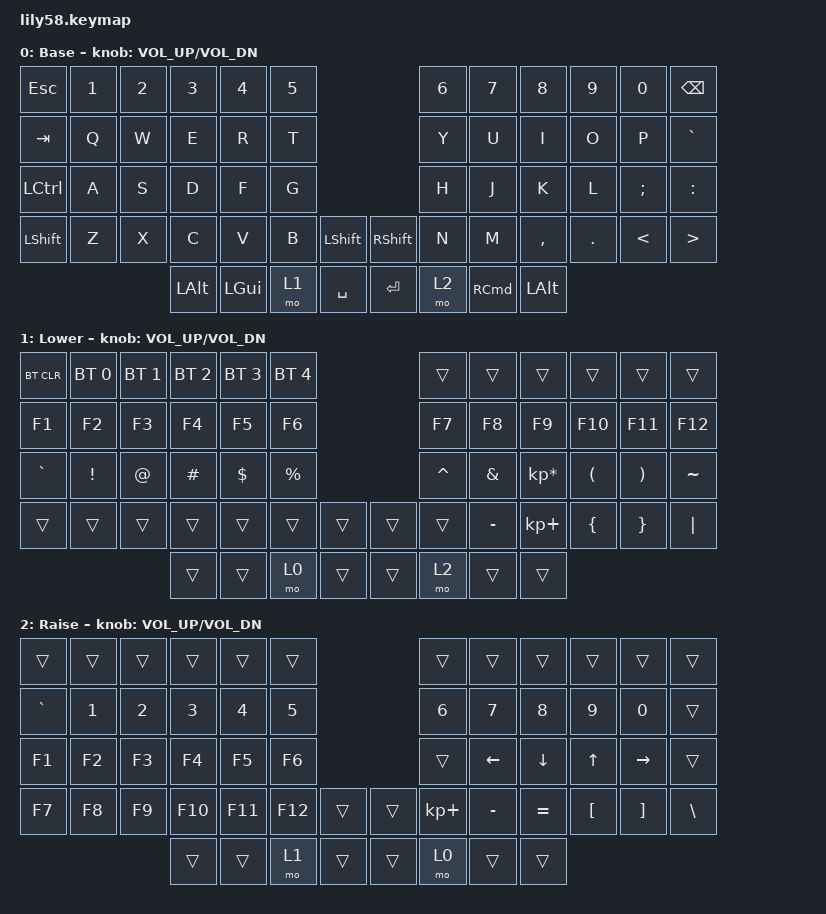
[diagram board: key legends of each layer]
/*
 * Copyright (c) 2020 The ZMK Contributors
 *
 * SPDX-License-Identifier: MIT
 */

#include <behaviors.dtsi>
#include <dt-bindings/zmk/bt.h>
#include <dt-bindings/zmk/keys.h>

/ {
    combos {
        compatible = "zmk,combos";

        Parentenciehs {
            bindings = <&kp RIGHT_PARENTHESIS>;
            key-positions = <42 9>;
            layers = <0>;
        };

        LEFT_PARENTENCIES {
            bindings = <&kp LEFT_PARENTHESIS>;
            key-positions = <42 8>;
            layers = <0>;
        };

        SHIFT_R_PARENTENCIES {
            bindings = <&kp RIGHT_PARENTHESIS>;
            key-positions = <9 43>;
            layers = <0>;
        };

        SHIFT_R_LEFT_PARENTENCIES {
            bindings = <&kp LEFT_PARENTHESIS>;
            key-positions = <8 43>;
            layers = <0>;
        };

        at {
            bindings = <&kp AT>;
            key-positions = <50 29>;
            layers = <0>;
        };

        at2 {
            bindings = <&kp AT>;
            key-positions = <29 57>;
            layers = <0>;
        };

        left-brackets2 {
            bindings = <&kp LEFT_BRACE>;
            key-positions = <8 57>;
            layers = <0>;
        };

        left_brackets {
            bindings = <&kp LEFT_BRACE>;
            key-positions = <8 50>;
            layers = <0>;
        };

        right-brackets {
            bindings = <&kp RIGHT_BRACE>;
            key-positions = <9 57>;
            layers = <0>;
        };

        right {
            bindings = <&kp RIGHT_BRACE>;
            key-positions = <9 50>;
            layers = <0>;
        };

        fs {
            bindings = <&kp FSLH>;
            key-positions = <43 7>;
            layers = <0>;
        };

        fs2 {
            bindings = <&kp FSLH>;
            key-positions = <7 42>;
            layers = <0>;
        };

        pipe {
            bindings = <&kp PIPE>;
            key-positions = <7 50>;
            layers = <0>;
        };

        pipe2 {
            bindings = <&kp PIPE>;
            key-positions = <7 57>;
            layers = <0>;
        };

        und {
            bindings = <&kp AMPS>;
            key-positions = <6 42>;
            layers = <0>;
        };

        und2 {
            bindings = <&kp AMPS>;
            key-positions = <6 43>;
            layers = <0>;
        };

        percent {
            bindings = <&kp PRCNT>;
            key-positions = <43 5>;
            layers = <0>;
        };

        perc {
            bindings = <&kp PRCNT>;
            key-positions = <5 42>;
            layers = <0>;
        };

        mal {
            bindings = <&kp ASTRK>;
            key-positions = <42 4>;
            layers = <0>;
        };

        mal2 {
            bindings = <&kp ASTRK>;
            key-positions = <4 43>;
            layers = <0>;
        };

        dq {
            bindings = <&kp DQT>;
            key-positions = <43 3>;
            layers = <0>;
        };

        dq2 {
            bindings = <&kp DQT>;
            key-positions = <3 42>;
            layers = <0>;
        };

        plus {
            bindings = <&kp PLUS>;
            key-positions = <42 2>;
            layers = <0>;
        };

        plus2 {
            bindings = <&kp PLUS>;
            key-positions = <2 43>;
            layers = <0>;
        };
    };

    keymap {
        compatible = "zmk,keymap";

        default_layer {
            // ------------------------------------------------------------------------------------------------------------
            // |  ESC  |  1  |  2  |  3   |  4   |  5   |                   |  6   |  7    |  8    |  9   |   0   |   `   |
            // |  TAB  |  Q  |  W  |  E   |  R   |  T   |                   |  Z   |  U    |  I    |  O   |   P   |   -   |
            // |  CTRL |  A  |  S  |  D   |  F   |  G   |                   |  H   |  J    |  K    |  L   |   ;   |   '   |
            // | SHIFT |  Y  |  X  |  C   |  V   |  B   |   "["  |  |  "]"  |  N   |  M    |  ,    |  .   |   /   | SHIFT |
            //                     | ALT  | GUI  | LOWER|  SPACE |  | ENTER | RAISE| BSPC  | GUI   |

            display-name = "Base";
            bindings = <
&kp ESC    &kp N1  &kp N2  &kp N3    &kp N4    &kp N5                                     &kp N6  &kp N7             &kp N8        &kp N9   &kp N0    &kp BACKSPACE
&kp TAB    &kp Q   &kp W   &kp E     &kp R     &kp T                                      &kp Y   &kp U              &kp I         &kp O    &kp P     &kp GRAVE
&kp LCTRL  &kp A   &kp S   &kp D     &kp F     &kp G                                      &kp H   &kp J              &kp K         &kp L    &kp SEMI  &kp COLON
&kp LSHFT  &kp Z   &kp X   &kp C     &kp V     &kp B   &kp LEFT_SHIFT    &kp RIGHT_SHIFT  &kp N   &kp M              &kp COMMA     &kp DOT  &kp LT    &kp GT
                           &kp LALT  &kp LGUI  &mo 1   &kp SPACE         &kp RET          &mo 2   &kp RIGHT_COMMAND  &kp LEFT_ALT
            >;

            sensor-bindings = <&inc_dec_kp C_VOL_UP C_VOL_DN>;
        };

        lower_layer {
            // ------------------------------------------------------------------------------------------------------------
            // | BTCLR | BT1 | BT2 |  BT3 |  BT4 |  BT5 |                   |      |       |       |      |       |       |
            // |  F1   |  F2 |  F3 |  F4  |  F5  |  F6  |                   |  F7  |  F8   |  F9   |  F10 |  F11  |  F12  |
            // |   `   |  !  |  @  |  #   |  $   |  %   |                   |  ^   |  &    |  *    |  (   |   )   |   ~   |
            // |       |     |     |      |      |      |        |  |       |      |  _    |  +    |  {   |   }   |  "|"  |
            //                     |      |      |      |        |  |       |      |       |       |

            display-name = "Lower";
            bindings = <
&bt BT_CLR  &bt BT_SEL 0  &bt BT_SEL 1  &bt BT_SEL 2  &bt BT_SEL 3  &bt BT_SEL 4                    &trans     &trans     &trans           &trans    &trans    &trans
&kp F1      &kp F2        &kp F3        &kp F4        &kp F5        &kp F6                          &kp F7     &kp F8     &kp F9           &kp F10   &kp F11   &kp F12
&kp GRAVE   &kp EXCL      &kp AT        &kp HASH      &kp DOLLAR    &kp PRCNT                       &kp CARET  &kp AMPS   &kp KP_MULTIPLY  &kp LPAR  &kp RPAR  &kp TILDE
&trans      &trans        &trans        &trans        &trans        &trans        &trans    &trans  &trans     &kp MINUS  &kp KP_PLUS      &kp LBRC  &kp RBRC  &kp PIPE
                                        &trans        &trans        &mo 0         &trans    &trans  &mo 2      &trans     &trans
            >;

            sensor-bindings = <&inc_dec_kp C_VOL_UP C_VOL_DN>;
        };

        raise_layer {
            // ------------------------------------------------------------------------------------------------------------
            // |       |     |     |      |      |      |                   |      |       |       |      |       |       |
            // |   `   |  1  |  2  |  3   |  4   |  5   |                   |  6   |   7   |   8   |  9   |   0   |       |
            // |   F1  |  F2 |  F3 |  F4  |  F5  |  F6  |                   |      |   <-  |   v   |  ^   |  ->   |       |
            // |   F7  |  F8 |  F9 |  F10 |  F11 |  F12 |        |  |       |  +   |   -   |   =   |  [   |   ]   |   \   |
            //                     |      |      |      |        |  |       |      |       |       |

            display-name = "Raise";
            bindings = <
&trans     &trans  &trans  &trans   &trans   &trans                     &trans       &trans     &trans     &trans    &trans     &trans
&kp GRAVE  &kp N1  &kp N2  &kp N3   &kp N4   &kp N5                     &kp N6       &kp N7     &kp N8     &kp N9    &kp N0     &trans
&kp F1     &kp F2  &kp F3  &kp F4   &kp F5   &kp F6                     &trans       &kp LEFT   &kp DOWN   &kp UP    &kp RIGHT  &trans
&kp F7     &kp F8  &kp F9  &kp F10  &kp F11  &kp F12  &trans    &trans  &kp KP_PLUS  &kp MINUS  &kp EQUAL  &kp LBKT  &kp RBKT   &kp BSLH
                           &trans   &trans   &mo 1    &trans    &trans  &mo 0        &trans     &trans
            >;

            sensor-bindings = <&inc_dec_kp C_VOL_UP C_VOL_DN>;
        };
    };
};
